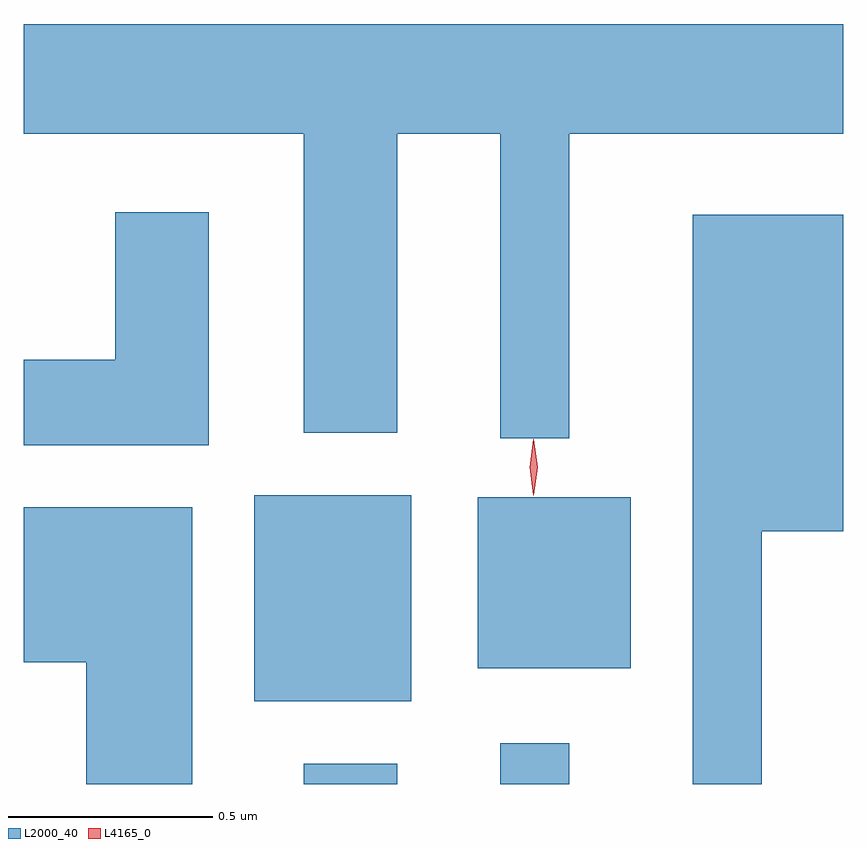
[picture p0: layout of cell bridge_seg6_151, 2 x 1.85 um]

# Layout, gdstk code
import gdstk
lib = gdstk.Library(unit=1e-6, precision=1e-09)
def R(c, l, rs):  # rectangles x0, y0, x1, y1
    for r in rs: c.add(gdstk.rectangle(r[:2], r[2:], *l))
def P(c, l, *ps):  # polygons
    for p in ps: c.add(gdstk.Polygon(p, *l))
L2000_40 = (2000, 40)
L4165_0 = (4165, 0)

bridge_seg6_151 = lib.new_cell('bridge_seg6_151')
R(bridge_seg6_151, L2000_40, [(1025.541,1610.609,1025.769,1610.659), (1026.021,1610.609,1026.189,1610.708), (1025.421,1610.811,1025.804,1611.314), (1025.966,1610.891,1026.339,1611.309)])
P(bridge_seg6_151, L2000_40, [(1026.189,1612.196),(1026.858,1612.196),(1026.858,1612.464),(1024.858,1612.464),(1024.858,1612.196),(1025.541,1612.196),(1025.541,1611.466),(1025.769,1611.466),(1025.769,1612.196),(1026.021,1612.196),(1026.021,1611.453),(1026.189,1611.453)],
  [(1025.309,1612.004),(1025.081,1612.004),(1025.081,1611.644),(1024.858,1611.644),(1024.858,1611.436),(1025.309,1611.436)],
  [(1026.659,1611.226),(1026.858,1611.226),(1026.858,1611.999),(1026.491,1611.999),(1026.491,1610.609),(1026.659,1610.609)],
  [(1025.269,1611.284),(1024.858,1611.284),(1024.858,1610.906),(1025.011,1610.906),(1025.011,1610.609),(1025.269,1610.609)])
P(bridge_seg6_151, L4165_0, [(1026.102,1611.314),(1026.093,1611.382),(1026.102,1611.45),(1026.103,1611.45),(1026.103,1611.45),(1026.113,1611.382),(1026.103,1611.314),(1026.103,1611.314)],
  [(1026.102,1611.318),(1026.093,1611.382),(1026.102,1611.447),(1026.103,1611.447),(1026.103,1611.447),(1026.113,1611.382),(1026.103,1611.318),(1026.103,1611.318)])

lib.write_gds('bridge_seg6_151.gds')
